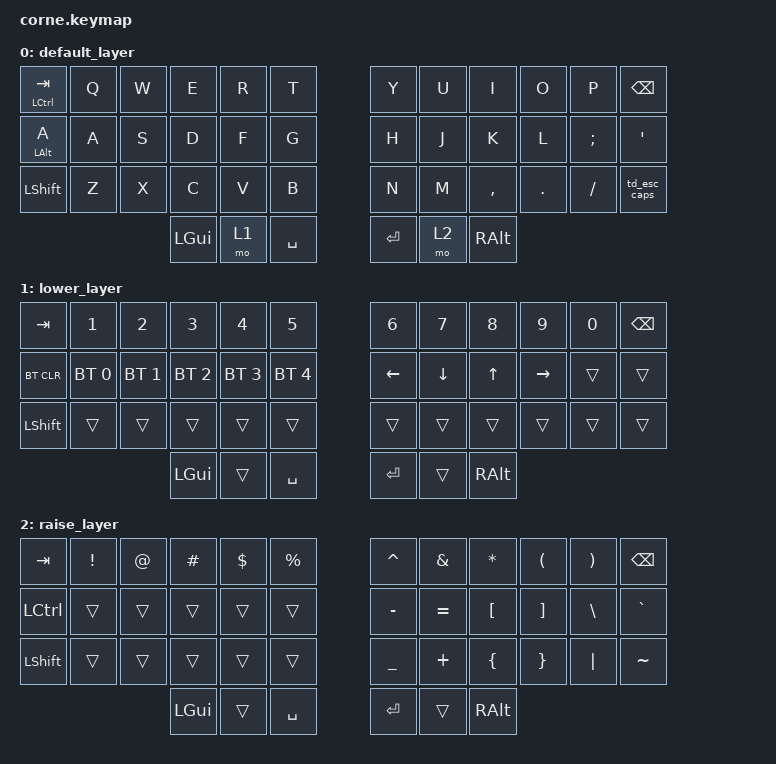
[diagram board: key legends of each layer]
#include <behaviors.dtsi>
#include <dt-bindings/zmk/keys.h>
#include <dt-bindings/zmk/bt.h>

/ {
    behaviors {
        // Tap dance ejemplo (opcional)
        td_esc_caps: tap_dance {
            compatible = "zmk,behavior-tap-dance";
            label = "TD_ESC_CAPS";
            #binding-cells = <0>;
            tapping-term-ms = <200>;
            bindings = <&kp ESC>, <&kp CAPS>;
        };
    };

    combos {
        compatible = "zmk,combos";

        combo_esc {
            timeout-ms = <50>;
            key-positions = <0 1>;
            bindings = <&kp ESC>;
        };
    };

    macros {
        git_status: git_status {
            compatible = "zmk,behavior-macro";
            label = "GIT_STATUS";
            #binding-cells = <0>;
            bindings = <&kp G &kp I &kp T &kp SPACE &kp S>;
        };
    };

    keymap {
        compatible = "zmk,keymap";

        default_layer {
            bindings = <
&mt LCTRL TAB   &kp Q &kp W &kp E &kp R &kp T      &kp Y &kp U &kp I &kp O &kp P &kp BSPC
&mt LALT A      &kp A &kp S &kp D &kp F &kp G      &kp H &kp J &kp K &kp L &kp SEMI &kp SQT
&kp LSHFT       &kp Z &kp X &kp C &kp V &kp B      &kp N &kp M &kp COMMA &kp DOT &kp FSLH &td_esc_caps
                &kp LGUI &mo 1 &kp SPACE           &kp ENTER &mo 2 &kp RALT
            >;
        };

        lower_layer {
            bindings = <
&kp TAB &kp N1 &kp N2 &kp N3 &kp N4 &kp N5      &kp N6 &kp N7 &kp N8 &kp N9 &kp N0 &kp BSPC
&bt BT_CLR &bt BT_SEL 0 &bt BT_SEL 1 &bt BT_SEL 2 &bt BT_SEL 3 &bt BT_SEL 4
                                                &kp LEFT &kp DOWN &kp UP &kp RIGHT &trans &trans
&kp LSHFT &trans &trans &trans &trans &trans     &trans &trans &trans &trans &trans &trans
                &kp LGUI &trans &kp SPACE       &kp ENTER &trans &kp RALT
            >;
        };

        raise_layer {
            bindings = <
&kp TAB &kp EXCL &kp AT &kp HASH &kp DLLR &kp PRCNT   &kp CARET &kp AMPS &kp STAR &kp LPAR &kp RPAR &kp BSPC
&kp LCTRL &trans &trans &trans &trans &trans          &kp MINUS &kp EQUAL &kp LBKT &kp RBKT &kp BSLH &kp GRAVE
&kp LSHFT &trans &trans &trans &trans &trans          &kp UNDER &kp PLUS &kp LBRC &kp RBRC &kp PIPE &kp TILDE
                &kp LGUI &trans &kp SPACE             &kp ENTER &trans &kp RALT
            >;
        };
    };

    conditional_layers {
        compatible = "zmk,conditional-layers";

        tri_layer {
            if-layers = <1 2>;
            then-layer = <3>;
        };
    };
};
